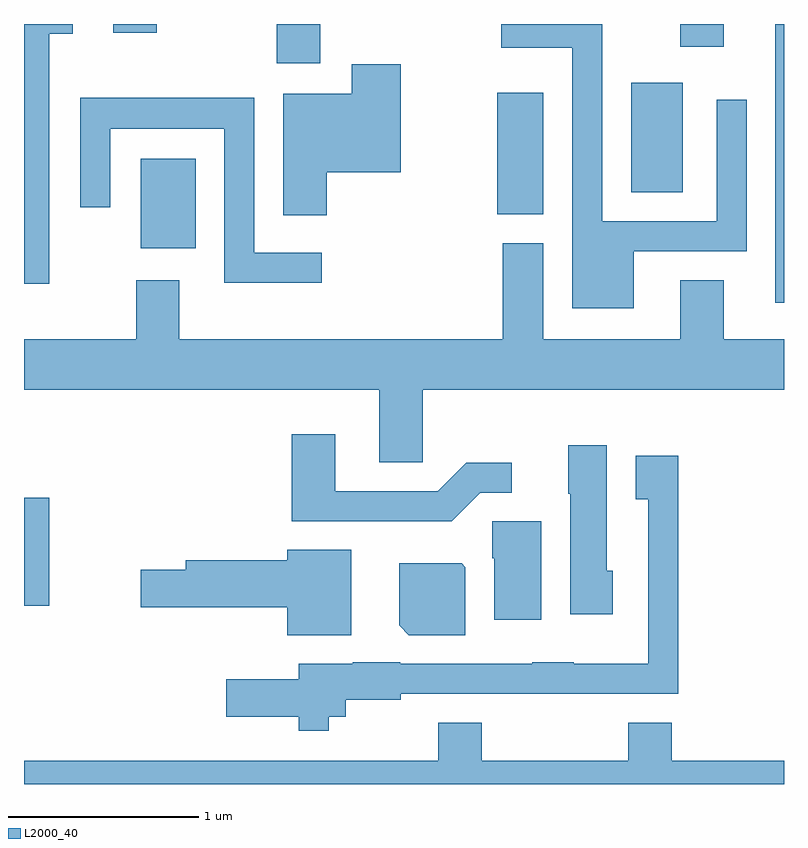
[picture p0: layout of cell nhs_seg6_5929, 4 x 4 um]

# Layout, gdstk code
import gdstk
lib = gdstk.Library(unit=1e-6, precision=1e-09)
def R(c, l, rs):  # rectangles x0, y0, x1, y1
    for r in rs: c.add(gdstk.rectangle(r[:2], r[2:], *l))
def P(c, l, *ps):  # polygons
    for p in ps: c.add(gdstk.Polygon(p, *l))
L2000_40 = (2000, 40)

nhs_seg6_5929 = lib.new_cell('nhs_seg6_5929')
R(nhs_seg6_5929, L2000_40, [(365.611,1571.101,365.744,1571.669), (369.566,1572.696,369.611,1574.162), (366.226,1572.981,366.514,1573.454), (368.101,1573.161,368.344,1573.799), (368.806,1573.276,369.079,1573.854), (366.941,1573.956,367.169,1574.162), (369.066,1574.041,369.294,1574.162), (366.081,1574.116,366.309,1574.162)])
P(nhs_seg6_5929, L2000_40, [(368.819,1572.966),(369.414,1572.966),(369.414,1573.763),(369.256,1573.763),(369.256,1573.124),(368.654,1573.124),(368.654,1574.162),(368.123,1574.162),(368.123,1574.036),(368.496,1574.036),(368.496,1572.666),(368.819,1572.666)],
  [(365.744,1574.111),(365.868,1574.111),(365.868,1574.162),(365.611,1574.162),(365.611,1572.796),(365.744,1572.796)],
  [(367.204,1573.381),(367.594,1573.381),(367.594,1573.949),(367.336,1573.949),(367.336,1573.794),(366.976,1573.794),(366.976,1573.156),(367.204,1573.156)],
  [(367.178,1572.959),(366.824,1572.959),(366.824,1573.774),(365.906,1573.774),(365.906,1573.198),(366.064,1573.198),(366.064,1573.611),(366.666,1573.611),(366.666,1572.801),(367.178,1572.801)],
  [(366.201,1572.814),(366.201,1572.504),(365.611,1572.504),(365.611,1572.236),(367.481,1572.236),(367.481,1571.856),(367.709,1571.856),(367.709,1572.236),(369.611,1572.236),(369.611,1572.504),(369.294,1572.504),(369.294,1572.814),(369.066,1572.814),(369.066,1572.504),(368.344,1572.504),(368.344,1573.009),(368.131,1573.009),(368.131,1572.504),(366.429,1572.504),(366.429,1572.814)],
  [(368.012,1571.696),(368.178,1571.696),(368.178,1571.854),(367.939,1571.854),(367.789,1571.704),(367.249,1571.704),(367.249,1572.004),(367.021,1572.004),(367.021,1571.546),(367.862,1571.546)],
  [(368.709,1571.284),(368.679,1571.284),(368.679,1571.944),(368.476,1571.944),(368.476,1571.69),(368.486,1571.69),(368.486,1571.056),(368.709,1571.056)],
  [(367.214,1570.516),(367.304,1570.516),(367.304,1570.606),(367.594,1570.606),(367.594,1570.636),(369.054,1570.636),(369.054,1571.889),(368.831,1571.889),(368.831,1571.661),(368.896,1571.661),(368.896,1570.794),(368.505,1570.794),(368.505,1570.804),(368.285,1570.804),(368.285,1570.794),(367.59,1570.794),(367.59,1570.804),(367.34,1570.804),(367.34,1570.794),(367.056,1570.794),(367.056,1570.714),(366.676,1570.714),(366.676,1570.516),(367.056,1570.516),(367.056,1570.441),(367.214,1570.441)],
  [(368.334,1571.544),(368.076,1571.544),(368.076,1571.35),(368.086,1571.35),(368.086,1571.026),(368.334,1571.026)],
  [(367.334,1571.394),(366.996,1571.394),(366.996,1571.339),(366.461,1571.339),(366.461,1571.289),(366.226,1571.289),(366.226,1571.091),(366.996,1571.091),(366.996,1570.946),(367.334,1570.946)],
  [(367.934,1571.304),(367.914,1571.324),(367.586,1571.324),(367.586,1570.997),(367.637,1570.946),(367.934,1570.946)],
  [(369.611,1570.284),(369.019,1570.284),(369.019,1570.484),(368.791,1570.484),(368.791,1570.284),(368.019,1570.284),(368.019,1570.484),(367.791,1570.484),(367.791,1570.284),(365.611,1570.284),(365.611,1570.162),(369.611,1570.162)])

lib.write_gds('nhs_seg6_5929.gds')
